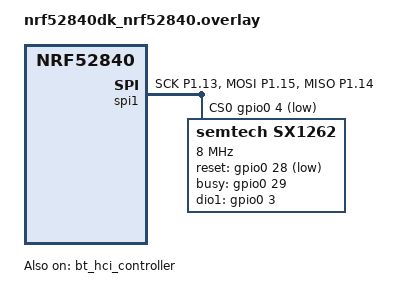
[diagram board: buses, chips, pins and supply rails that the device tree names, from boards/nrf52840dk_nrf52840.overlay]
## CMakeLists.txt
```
cmake_minimum_required(VERSION 3.20.0)

find_package(Zephyr REQUIRED HINTS $ENV{ZEPHYR_BASE})
project(reverse_radio_bridge)
target_sources(app PRIVATE src/main.c)
```

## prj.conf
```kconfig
CONFIG_GPIO=y
CONFIG_SPI=y
CONFIG_LORA=y
CONFIG_LORA_SX126X=y
CONFIG_LORA_MODULE_BACKEND_LORA_BASICS_MODEM=y
CONFIG_LORA_BASICS_MODEM_ASYNC_RX_MAX_PAYLOAD=64
CONFIG_LORA_BASICS_MODEM_DEFERRED_INIT=y
CONFIG_BT=y
CONFIG_BT_LL_SW_SPLIT=y
CONFIG_BT_OBSERVER=y
CONFIG_BT_BROADCASTER=y
CONFIG_BT_DEVICE_NAME="RB2-Bridge"
CONFIG_SHELL=y
CONFIG_SHELL_BACKEND_SERIAL=y
CONFIG_SHELL_BACKEND_SERIAL_FORCE_TX_BLOCKING_MODE=y
CONFIG_SERIAL=y
CONFIG_CONSOLE=y
CONFIG_UART_CONSOLE=y
CONFIG_PRINTK=y
CONFIG_LOG=y
CONFIG_LOG_DEFAULT_LEVEL=3
CONFIG_MAIN_STACK_SIZE=4096
CONFIG_SYSTEM_WORKQUEUE_STACK_SIZE=4096
```

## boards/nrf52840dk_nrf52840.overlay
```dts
#include <zephyr/dt-bindings/lora/sx126x.h>
#include <zephyr/dt-bindings/gpio/gpio.h>

/ { aliases { lora0 = &sx1262; }; };

&pinctrl {
	spi1_bridge_default: spi1_bridge_default {
		group1 { psels = <NRF_PSEL(SPIM_SCK, 1, 13)>, <NRF_PSEL(SPIM_MOSI, 1, 15)>, <NRF_PSEL(SPIM_MISO, 1, 14)>; };
	};
	spi1_bridge_sleep: spi1_bridge_sleep {
		group1 {
			psels = <NRF_PSEL(SPIM_SCK, 1, 13)>, <NRF_PSEL(SPIM_MOSI, 1, 15)>, <NRF_PSEL(SPIM_MISO, 1, 14)>;
			low-power-enable;
		};
	};
};

&spi1 {
	status = "okay";
	compatible = "nordic,nrf-spim";
	cs-gpios = <&gpio0 4 GPIO_ACTIVE_LOW>;
	pinctrl-0 = <&spi1_bridge_default>;
	pinctrl-1 = <&spi1_bridge_sleep>;
	pinctrl-names = "default", "sleep";
	sx1262: sx1262@0 {
		compatible = "semtech,sx1262";
		reg = <0>;
		spi-max-frequency = <8000000>;
		reset-gpios = <&gpio0 28 GPIO_ACTIVE_LOW>;
		busy-gpios = <&gpio0 29 GPIO_ACTIVE_HIGH>;
		dio1-gpios = <&gpio0 3 GPIO_ACTIVE_HIGH>;
		dio2-tx-enable;
		dio3-tcxo-voltage = <SX126X_DIO3_TCXO_1V8>;
		tcxo-power-startup-delay-ms = <5>;
		/* regulator-ldo is intentionally absent: use the module's DCDC mode. */
	};
};

/* Production uses Zephyr's native split controller, not the SDC controller. */
&bt_hci_sdc {
	status = "disabled";
};

&bt_hci_controller {
	status = "okay";
};

/{
	chosen {
		zephyr,bt-hci = &bt_hci_controller;
	};
};
```

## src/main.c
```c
#include <zephyr/kernel.h>
#include <zephyr/device.h>
#include <zephyr/drivers/lora.h>
#include <zephyr/shell/shell.h>
#include <zephyr/bluetooth/bluetooth.h>
#include <zephyr/bluetooth/hci.h>
#include <zephyr/sys/byteorder.h>
#include <zephyr/sys/util.h>
#include <zephyr/logging/log.h>
#include <string.h>
#include <errno.h>
#include <stdlib.h>

LOG_MODULE_REGISTER(reverse_bridge, LOG_LEVEL_INF);

#define LORA_NODE DT_ALIAS(lora0)
BUILD_ASSERT(DT_NODE_HAS_STATUS_OKAY(LORA_NODE), "SX1262 lora0 is not enabled");
#define MAX_PAYLOAD 18
#define FRAME_HEADER_SIZE 9
#define MAX_FRAME (FRAME_HEADER_SIZE + MAX_PAYLOAD)
#define COMPANY_ID 0xffff
#define MAGIC0 'R'
#define MAGIC1 'B'
#define MAGIC2 '2'
#define TYPE_REQUEST 1
#define TYPE_RESPONSE 2

enum app_role { ROLE_INITIATOR, ROLE_RESPONDER };

static const struct device *lora_dev = DEVICE_DT_GET(LORA_NODE);
static enum app_role role = ROLE_INITIATOR;
static bool lora_ready;
static bool ble_ready;
volatile uint32_t boot_cookie;
static bool scan_running;
static uint32_t next_id = 1;
static uint32_t outstanding_id;
static char outstanding_payload[MAX_PAYLOAD + 1];
static size_t outstanding_len;
static uint32_t lora_tx_count, lora_rx_count, lora_drop_count;
static uint32_t ble_adv_count, ble_match_count, ble_drop_count;
static uint8_t adv_buf[2 + MAX_FRAME];
static size_t adv_len;
static struct bt_data adv_data;
static struct k_mutex radio_lock;
static struct bt_le_scan_cb scan_callbacks;
static void lora_rx_cb(const struct device *dev, uint8_t *data, uint16_t size,
			       int16_t rssi, int8_t snr, void *user_data);

static int radio_configure(bool tx)
{
	struct lora_modem_config cfg = {
		.frequency = 915000000,
		.bandwidth = BW_125_KHZ,
		.datarate = SF_9,
		.preamble_len = 8,
		.coding_rate = CR_4_5,
		.tx_power = 14,
		.tx = tx,
		.iq_inverted = false,
		.public_network = false,
	};
	return lora_config(lora_dev, &cfg);
}

static size_t make_frame(uint8_t type, uint32_t id, const char *payload, size_t len,
				 uint8_t *out)
{
	if (len > MAX_PAYLOAD) {
		len = MAX_PAYLOAD;
	}
	out[0] = MAGIC0;
	out[1] = MAGIC1;
	out[2] = MAGIC2;
	out[3] = type;
	sys_put_le32(id, &out[4]);
	out[8] = (uint8_t)len;
	memcpy(&out[9], payload, len);
	return FRAME_HEADER_SIZE + len;
}

static bool parse_frame(const uint8_t *in, size_t len, uint8_t expected_type,
				uint32_t *id, const uint8_t **payload, size_t *payload_len)
{
	if (len < FRAME_HEADER_SIZE || in[0] != MAGIC0 || in[1] != MAGIC1 || in[2] != MAGIC2 ||
	    in[3] != expected_type || in[8] > MAX_PAYLOAD || 9 + in[8] != len) {
		return false;
	}
	*id = sys_get_le32(&in[4]);
	*payload = &in[9];
	*payload_len = in[8];
	return true;
}

static int send_lora_frame(uint8_t *frame, size_t len)
{
	int tx_rc;
	int rx_rc;
	k_mutex_lock(&radio_lock, K_FOREVER);
	/* Stop continuous async RX before taking the modem for TX. */
	(void)lora_recv_async(lora_dev, NULL, NULL);
	tx_rc = radio_configure(true);
	if (tx_rc == 0) {
		tx_rc = lora_send(lora_dev, frame, len);
	}
	if (tx_rc == 0) {
		lora_tx_count++;
	}

	/* TX owns the modem only for this operation. Restore continuous RX once,
	 * here in the ordinary path; the Basics Modem callback already keeps RX
	 * alive and must not reacquire it. */
	rx_rc = radio_configure(false);
	if (rx_rc == 0) {
		rx_rc = lora_recv_async(lora_dev, lora_rx_cb, NULL);
	}
	if (rx_rc != 0) {
		printk("LORA_RX_RESTORE_FAIL rc=%d\n", rx_rc);
	}
	k_mutex_unlock(&radio_lock);
	return tx_rc != 0 ? tx_rc : rx_rc;
}

static void start_scan(void)
{
	int rc = bt_le_scan_start(BT_LE_SCAN_PASSIVE, NULL);
	if (rc == 0 || rc == -EALREADY) {
		scan_running = true;
		printk("BLE_SCAN_READY\n");
	} else {
		printk("BLE_SCAN_FAIL rc=%d\n", rc);
	}
}

static void start_lora_receive(void)
{
	int rc;
	k_mutex_lock(&radio_lock, K_FOREVER);
	rc = radio_configure(false);
	if (rc == 0) {
		rc = lora_recv_async(lora_dev, lora_rx_cb, NULL);
	}
	k_mutex_unlock(&radio_lock);
	if (rc != 0) {
		printk("LORA_RX_START_FAIL rc=%d\n", rc);
	}
}

static int advertise_response(uint32_t id, const char *payload, size_t len)
{
	int rc;
	uint8_t frame[MAX_FRAME];
	size_t frame_len = make_frame(TYPE_RESPONSE, id, payload, len, frame);
	adv_buf[0] = COMPANY_ID & 0xff;
	adv_buf[1] = COMPANY_ID >> 8;
	memcpy(&adv_buf[2], frame, frame_len);
	adv_len = frame_len + 2;
	adv_data = (struct bt_data)BT_DATA(BT_DATA_MANUFACTURER_DATA, adv_buf, adv_len);
	(void)bt_le_adv_stop();
	rc = bt_le_adv_start(BT_LE_ADV_NCONN_IDENTITY, &adv_data, 1, NULL, 0);
	if (rc == 0) {
		ble_adv_count++;
		printk("BLE_RESPONSE id=%08x payload=%.*s\n", id, (int)len, payload);
	}
	return rc;
}

static bool scan_data_cb(struct bt_data *data, void *user_data)
{
	uint32_t id;
	const uint8_t *payload;
	size_t len;
	ARG_UNUSED(user_data);
	if (data->type != BT_DATA_MANUFACTURER_DATA || data->data_len < 11 ||
	    sys_get_le16(data->data) != COMPANY_ID) {
		return true;
	}
	if (!parse_frame(&data->data[2], data->data_len - 2, TYPE_RESPONSE, &id, &payload, &len)) {
		ble_drop_count++;
		return true;
	}
	printk("BLE_RX id=%08x payload=%.*s\n", id, (int)len, payload);
	if (outstanding_id != 0 && id == outstanding_id && len == outstanding_len &&
	    memcmp(payload, outstanding_payload, len) == 0) {
		ble_match_count++;
		printk("BRIDGE_COMPLETE id=%08x payload=%.*s\n", id, (int)len, payload);
		outstanding_id = 0;
		outstanding_len = 0;
		memset(outstanding_payload, 0, sizeof(outstanding_payload));
	} else {
		ble_drop_count++;
	}
	return true;
}

static void scan_cb(const struct bt_le_scan_recv_info *info, struct net_buf_simple *ad)
{
	ARG_UNUSED(info);
	bt_data_parse(ad, scan_data_cb, NULL);
}

static void lora_rx_cb(const struct device *dev, uint8_t *data, uint16_t size,
			       int16_t rssi, int8_t snr, void *user_data)
{
	uint32_t id;
	const uint8_t *payload;
	size_t len;
	char text[MAX_PAYLOAD + 1];
	ARG_UNUSED(dev); ARG_UNUSED(rssi); ARG_UNUSED(snr); ARG_UNUSED(user_data);
	lora_rx_count++;
	if (!parse_frame(data, size, TYPE_REQUEST, &id, &payload, &len)) {
		lora_drop_count++;
		printk("LORA_RX_DROP size=%u\n", size);
		return;
	}
	printk("LORA_RX id=%08x payload=%.*s\n", id, (int)len, payload);
	if (role != ROLE_RESPONDER) {
		return;
	}
	memcpy(text, payload, len);
	text[len] = '\0';
	if (advertise_response(id, text, len) == 0) {
		printk("BRIDGE_RESPONDED id=%08x payload=%.*s\n", id, (int)len, text);
	}
}

static int cmd_status(const struct shell *sh, size_t argc, char **argv)
{
	ARG_UNUSED(argc); ARG_UNUSED(argv);
	shell_print(sh, "role=%s lora=%s ble=%s scan=%s", role == ROLE_INITIATOR ? "initiator" : "responder",
		    lora_ready ? "ready" : "not-ready", ble_ready ? "ready" : "not-ready",
		    scan_running ? "on" : "off");
	shell_print(sh, "freq=915000000 bw=125 sf=9 txp=14 lora_tx=%u lora_rx=%u lora_drop=%u ble_adv=%u ble_match=%u ble_drop=%u",
		    lora_tx_count, lora_rx_count, lora_drop_count, ble_adv_count, ble_match_count, ble_drop_count);
	return 0;
}

static int cmd_role(const struct shell *sh, size_t argc, char **argv)
{
	if (argc != 2 || (strcmp(argv[1], "initiator") && strcmp(argv[1], "responder"))) {
		shell_error(sh, "usage: role initiator|responder");
		return -EINVAL;
	}
	role = !strcmp(argv[1], "responder") ? ROLE_RESPONDER : ROLE_INITIATOR;
	if (role == ROLE_RESPONDER) {
		if (scan_running) {
			(void)bt_le_scan_stop();
			scan_running = false;
		}
	} else if (ble_ready) {
		start_scan();
	}
	shell_print(sh, "ROLE_SET %s", argv[1]);
	return 0;
}

static int cmd_bridge_start(const struct shell *sh, size_t argc, char **argv)
{
	uint8_t frame[MAX_FRAME];
	size_t len;
	int rc;
	if (role != ROLE_INITIATOR || argc != 2 || strlen(argv[1]) == 0 || strlen(argv[1]) > MAX_PAYLOAD) {
		shell_error(sh, "usage: bridge start <1..18 chars> (initiator only)");
		return -EINVAL;
	}
	outstanding_id = next_id++;
	outstanding_len = strlen(argv[1]);
	memcpy(outstanding_payload, argv[1], outstanding_len + 1);
	len = make_frame(TYPE_REQUEST, outstanding_id, argv[1], outstanding_len, frame);
	rc = send_lora_frame(frame, len);
	if (rc) {
		outstanding_id = 0;
		outstanding_len = 0;
		memset(outstanding_payload, 0, sizeof(outstanding_payload));
		shell_error(sh, "LoRa request failed rc=%d", rc);
		return rc;
	}
	shell_print(sh, "BRIDGE_SENT id=%08x payload=%s", outstanding_id, argv[1]);
	return 0;
}

static int cmd_lora_send(const struct shell *sh, size_t argc, char **argv)
{
	uint8_t frame[MAX_FRAME];
	int rc;
	if (argc != 2 || strlen(argv[1]) > MAX_PAYLOAD) return -EINVAL;
	/* Manual LoRa uses the same framed production path with a reserved id. */
	(void)make_frame(TYPE_REQUEST, 0, argv[1], strlen(argv[1]), frame);
	rc = send_lora_frame(frame, FRAME_HEADER_SIZE + strlen(argv[1]));
	shell_print(sh, "LORA_SEND rc=%d payload=%s", rc, argv[1]);
	return rc;
}

static int cmd_ble_adv(const struct shell *sh, size_t argc, char **argv)
{
	uint32_t id;
	char *end;
	int rc;
	if (argc != 3 || strlen(argv[2]) > MAX_PAYLOAD) return -EINVAL;
	id = strtoul(argv[1], &end, 16);
	if (*end) return -EINVAL;
	rc = advertise_response(id, argv[2], strlen(argv[2]));
	shell_print(sh, "BLE_ADV rc=%d id=%08x payload=%s", rc, id, argv[2]);
	return rc;
}

static int cmd_ble_scan(const struct shell *sh, size_t argc, char **argv)
{
	ARG_UNUSED(sh); ARG_UNUSED(argc); ARG_UNUSED(argv);
	start_scan();
	return 0;
}

SHELL_STATIC_SUBCMD_SET_CREATE(lora_cmds,
	SHELL_CMD_ARG(send, NULL, "send framed LoRa payload", cmd_lora_send, 2, 0),
	SHELL_SUBCMD_SET_END);
SHELL_STATIC_SUBCMD_SET_CREATE(ble_cmds,
	SHELL_CMD_ARG(adv, NULL, "advertise id and payload", cmd_ble_adv, 3, 0),
	SHELL_CMD(scan, NULL, "start BLE scan", cmd_ble_scan),
	SHELL_SUBCMD_SET_END);
SHELL_STATIC_SUBCMD_SET_CREATE(bridge_cmds,
	SHELL_CMD_ARG(start, NULL, "send reverse bridge request", cmd_bridge_start, 2, 0),
	SHELL_SUBCMD_SET_END);
SHELL_CMD_REGISTER(status, NULL, "show bridge state", cmd_status);
SHELL_CMD_REGISTER(role, NULL, "set runtime role", cmd_role);
SHELL_CMD_REGISTER(lora, &lora_cmds, "manual LoRa", NULL);
SHELL_CMD_REGISTER(ble, &ble_cmds, "manual BLE", NULL);
SHELL_CMD_REGISTER(bridge, &bridge_cmds, "reverse LoRa-to-BLE bridge", NULL);

static void bt_ready(int err)
{
	if (err) {
		printk("BLE_INIT_FAIL rc=%d\n", err);
		return;
	}
	ble_ready = true;
	printk("BLE_READY frame=RB2/type/id/len/payload company=ffff\n");
	scan_callbacks.recv = scan_cb;
	bt_le_scan_cb_register(&scan_callbacks);
	if (role == ROLE_INITIATOR) {
		start_scan();
	}
}

int main(void)
{
	boot_cookie = 0xB0070001;
	k_mutex_init(&radio_lock);
	int rc;
	printk("RB2_BOOT role=initiator mcu=nRF52840-QIAA radio=SX1262 wiring=MOSI=P1.15,MISO=P1.14,SCK=P1.13,NSS=P0.04,BUSY=P0.29,RESET=P0.28,DIO1=P0.03,RF_SW=P0.05\n");
	if (!device_is_ready(lora_dev)) {
		printk("LORA_NOT_READY\n");
	} else if (radio_configure(false) == 0) {
		lora_ready = true;
		printk("LORA_READY freq=915000000 bw=125 sf=9\n");
		start_lora_receive();
	} else {
		printk("LORA_CONFIG_FAIL\n");
	}
	rc = bt_enable(bt_ready);
	if (rc) printk("BLE_ENABLE_FAIL rc=%d\n", rc);
	return 0;
}
```
